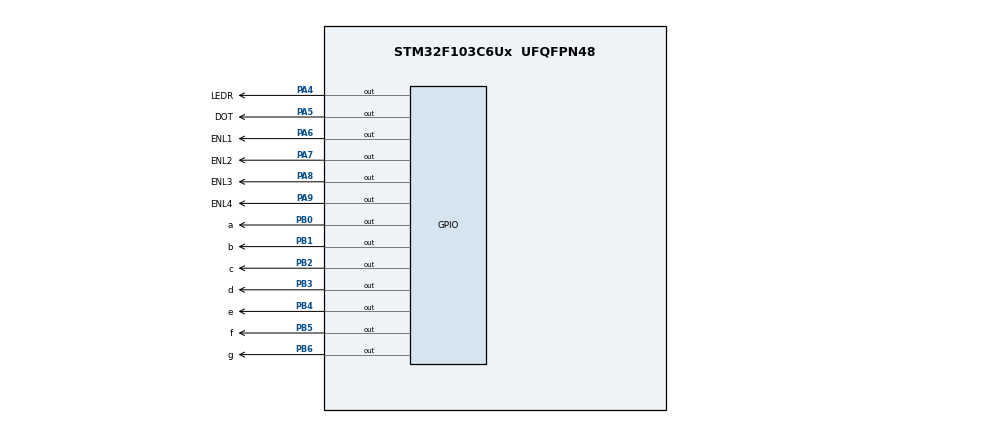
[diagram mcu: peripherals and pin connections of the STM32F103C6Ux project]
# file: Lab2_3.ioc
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Mcu.Family=STM32F1
Mcu.Name=STM32F103C6Ux
Mcu.Package=UFQFPN48
NVIC.PriorityGroup=NVIC_PRIORITYGROUP_4
NVIC.TIM2_IRQn=true\:0\:0\:false\:false\:true\:true\:true\:true
PA4.GPIO_Label=LEDR
PA4.Signal=GPIO_Output
PA5.GPIO_Label=DOT
PA5.Signal=GPIO_Output
PA6.GPIO_Label=ENL1
PA6.Signal=GPIO_Output
PA7.GPIO_Label=ENL2
PA7.Signal=GPIO_Output
PA8.GPIO_Label=ENL3
PA8.Signal=GPIO_Output
PA9.GPIO_Label=ENL4
PA9.Signal=GPIO_Output
PB0.GPIO_Label=a
PB0.Signal=GPIO_Output
PB1.GPIO_Label=b
PB1.Signal=GPIO_Output
PB2.GPIO_Label=c
PB2.Signal=GPIO_Output
PB3.GPIO_Label=d
PB3.Signal=GPIO_Output
PB4.GPIO_Label=e
PB4.Signal=GPIO_Output
PB5.GPIO_Label=f
PB5.Signal=GPIO_Output
PB6.GPIO_Label=g
PB6.Signal=GPIO_Output
ProjectManager.HeapSize=0x200
ProjectManager.StackSize=0x400
ProjectManager.TargetToolchain=STM32CubeIDE
RCC.APB1Freq_Value=8000000
RCC.APB2Freq_Value=8000000
TIM2.Period=9
TIM2.Prescaler=7999
VP_TIM2_VS_ClockSourceINT.Mode=Internal
board=custom

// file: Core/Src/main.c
/* USER CODE BEGIN Header */
/**
  ******************************************************************************
  * @file           : main.c
  * @brief          : Main program body
  ******************************************************************************
  * @attention
  *
  * Copyright (c) 2022 STMicroelectronics.
  * All rights reserved.
  *
  * This software is licensed under terms that can be found in the LICENSE file
  * in the root directory of this software component.
  * If no LICENSE file comes with this software, it is provided AS-IS.
  *
  ******************************************************************************
  */
/* USER CODE END Header */
#include "main.h"

TIM_HandleTypeDef htim2;

void SystemClock_Config(void);
static void MX_GPIO_Init(void);
static void MX_TIM2_Init(void);

int main(void)
{

  /* MCU Configuration--------------------------------------------------------*/

  /* Reset of all peripherals, Initializes the Flash interface and the Systick. */
  HAL_Init();

  /* Configure the system clock */
  SystemClock_Config();

  /* Initialize all configured peripherals */
  MX_GPIO_Init();
  MX_TIM2_Init();
  /* USER CODE BEGIN 2 */
  HAL_TIM_Base_Start_IT(&htim2);
  HAL_GPIO_WritePin(DOT_GPIO_Port, DOT_Pin, 0);
  HAL_GPIO_WritePin(ENL1_GPIO_Port, ENL1_Pin, 1);
  HAL_GPIO_WritePin(ENL2_GPIO_Port, ENL2_Pin, 1);
  HAL_GPIO_WritePin(ENL3_GPIO_Port, ENL3_Pin, 1);
  HAL_GPIO_WritePin(ENL4_GPIO_Port, ENL4_Pin, 1);
  /* USER CODE END 2 */

  /* Infinite loop */
  while (1)
  {

  }
}

void SystemClock_Config(void)
{
  RCC_OscInitTypeDef RCC_OscInitStruct = {0};
  RCC_ClkInitTypeDef RCC_ClkInitStruct = {0};

  /** Initializes the RCC Oscillators according to the specified parameters
  * in the RCC_OscInitTypeDef structure.
  */
  RCC_OscInitStruct.OscillatorType = RCC_OSCILLATORTYPE_HSI;
  RCC_OscInitStruct.HSIState = RCC_HSI_ON;
  RCC_OscInitStruct.HSICalibrationValue = RCC_HSICALIBRATION_DEFAULT;
  RCC_OscInitStruct.PLL.PLLState = RCC_PLL_NONE;
  if (HAL_RCC_OscConfig(&RCC_OscInitStruct) != HAL_OK)
  {
    Error_Handler();
  }

  /** Initializes the CPU, AHB and APB buses clocks
  */
  RCC_ClkInitStruct.ClockType = RCC_CLOCKTYPE_HCLK|RCC_CLOCKTYPE_SYSCLK
                              |RCC_CLOCKTYPE_PCLK1|RCC_CLOCKTYPE_PCLK2;
  RCC_ClkInitStruct.SYSCLKSource = RCC_SYSCLKSOURCE_HSI;
  RCC_ClkInitStruct.AHBCLKDivider = RCC_SYSCLK_DIV1;
  RCC_ClkInitStruct.APB1CLKDivider = RCC_HCLK_DIV1;
  RCC_ClkInitStruct.APB2CLKDivider = RCC_HCLK_DIV1;

  if (HAL_RCC_ClockConfig(&RCC_ClkInitStruct, FLASH_LATENCY_0) != HAL_OK)
  {
    Error_Handler();
  }
}

static void MX_TIM2_Init(void)
{

  TIM_ClockConfigTypeDef sClockSourceConfig = {0};
  TIM_MasterConfigTypeDef sMasterConfig = {0};

  htim2.Instance = TIM2;
  htim2.Init.Prescaler = 7999;
  htim2.Init.CounterMode = TIM_COUNTERMODE_UP;
  htim2.Init.Period = 9;
  htim2.Init.ClockDivision = TIM_CLOCKDIVISION_DIV1;
  htim2.Init.AutoReloadPreload = TIM_AUTORELOAD_PRELOAD_DISABLE;
  if (HAL_TIM_Base_Init(&htim2) != HAL_OK)
  {
    Error_Handler();
  }
  sClockSourceConfig.ClockSource = TIM_CLOCKSOURCE_INTERNAL;
  if (HAL_TIM_ConfigClockSource(&htim2, &sClockSourceConfig) != HAL_OK)
  {
    Error_Handler();
  }
  sMasterConfig.MasterOutputTrigger = TIM_TRGO_RESET;
  sMasterConfig.MasterSlaveMode = TIM_MASTERSLAVEMODE_DISABLE;
  if (HAL_TIMEx_MasterConfigSynchronization(&htim2, &sMasterConfig) != HAL_OK)
  {
    Error_Handler();
  }

}

static void MX_GPIO_Init(void)
{
  GPIO_InitTypeDef GPIO_InitStruct = {0};

  /* GPIO Ports Clock Enable */
  __HAL_RCC_GPIOA_CLK_ENABLE();
  __HAL_RCC_GPIOB_CLK_ENABLE();

  /*Configure GPIO pin Output Level */
  HAL_GPIO_WritePin(GPIOA, LEDR_Pin|DOT_Pin|ENL1_Pin|ENL2_Pin
                          |ENL3_Pin|ENL4_Pin, GPIO_PIN_RESET);

  /*Configure GPIO pin Output Level */
  HAL_GPIO_WritePin(GPIOB, a_Pin|b_Pin|c_Pin|d_Pin
                          |e_Pin|f_Pin|g_Pin, GPIO_PIN_RESET);

  /*Configure GPIO pins : LEDR_Pin DOT_Pin ENL1_Pin ENL2_Pin
                           ENL3_Pin ENL4_Pin */
  GPIO_InitStruct.Pin = LEDR_Pin|DOT_Pin|ENL1_Pin|ENL2_Pin
                          |ENL3_Pin|ENL4_Pin;
  GPIO_InitStruct.Mode = GPIO_MODE_OUTPUT_PP;
  GPIO_InitStruct.Pull = GPIO_NOPULL;
  GPIO_InitStruct.Speed = GPIO_SPEED_FREQ_LOW;
  HAL_GPIO_Init(GPIOA, &GPIO_InitStruct);

  /*Configure GPIO pins : a_Pin b_Pin c_Pin d_Pin
                           e_Pin f_Pin g_Pin */
  GPIO_InitStruct.Pin = a_Pin|b_Pin|c_Pin|d_Pin
                          |e_Pin|f_Pin|g_Pin;
  GPIO_InitStruct.Mode = GPIO_MODE_OUTPUT_PP;
  GPIO_InitStruct.Pull = GPIO_NOPULL;
  GPIO_InitStruct.Speed = GPIO_SPEED_FREQ_LOW;
  HAL_GPIO_Init(GPIOB, &GPIO_InitStruct);

}

/* USER CODE BEGIN 4 */
void display7SEG(int num){
	if (num==1){
		HAL_GPIO_WritePin(a_GPIO_Port, a_Pin, 1);
		HAL_GPIO_WritePin(a_GPIO_Port, b_Pin, 0);
		HAL_GPIO_WritePin(a_GPIO_Port, c_Pin, 0);
		HAL_GPIO_WritePin(a_GPIO_Port, d_Pin, 1);
		HAL_GPIO_WritePin(a_GPIO_Port, e_Pin, 1);
		HAL_GPIO_WritePin(a_GPIO_Port, f_Pin, 1);
		HAL_GPIO_WritePin(a_GPIO_Port, g_Pin, 1);
	}
	else if (num==2){
		HAL_GPIO_WritePin(a_GPIO_Port, a_Pin, 0);
		HAL_GPIO_WritePin(a_GPIO_Port, b_Pin, 0);
		HAL_GPIO_WritePin(a_GPIO_Port, c_Pin, 1);
		HAL_GPIO_WritePin(a_GPIO_Port, d_Pin, 0);
		HAL_GPIO_WritePin(a_GPIO_Port, e_Pin, 0);
		HAL_GPIO_WritePin(a_GPIO_Port, f_Pin, 1);
		HAL_GPIO_WritePin(a_GPIO_Port, g_Pin, 0);
	}
	else if (num==3){
		HAL_GPIO_WritePin(a_GPIO_Port, a_Pin, 0);
		HAL_GPIO_WritePin(a_GPIO_Port, b_Pin, 0);
		HAL_GPIO_WritePin(a_GPIO_Port, c_Pin, 0);
		HAL_GPIO_WritePin(a_GPIO_Port, d_Pin, 0);
		HAL_GPIO_WritePin(a_GPIO_Port, e_Pin, 1);
		HAL_GPIO_WritePin(a_GPIO_Port, f_Pin, 1);
		HAL_GPIO_WritePin(a_GPIO_Port, g_Pin, 0);

	}
	else if (num==4){
		HAL_GPIO_WritePin(a_GPIO_Port, a_Pin, 1);
		HAL_GPIO_WritePin(a_GPIO_Port, b_Pin, 0);
		HAL_GPIO_WritePin(a_GPIO_Port, c_Pin, 0);
		HAL_GPIO_WritePin(a_GPIO_Port, d_Pin, 1);
		HAL_GPIO_WritePin(a_GPIO_Port, e_Pin, 1);
		HAL_GPIO_WritePin(a_GPIO_Port, f_Pin, 0);
		HAL_GPIO_WritePin(a_GPIO_Port, g_Pin, 0);
	}
	else if (num==5){
		HAL_GPIO_WritePin(a_GPIO_Port, a_Pin, 0);
		HAL_GPIO_WritePin(a_GPIO_Port, b_Pin, 1);
		HAL_GPIO_WritePin(a_GPIO_Port, c_Pin, 0);
		HAL_GPIO_WritePin(a_GPIO_Port, d_Pin, 0);
		HAL_GPIO_WritePin(a_GPIO_Port, e_Pin, 1);
		HAL_GPIO_WritePin(a_GPIO_Port, f_Pin, 0);
		HAL_GPIO_WritePin(a_GPIO_Port, g_Pin, 0);
	}
	else if (num==6){
		HAL_GPIO_WritePin(a_GPIO_Port, a_Pin, 0);
		HAL_GPIO_WritePin(a_GPIO_Port, b_Pin, 1);
		HAL_GPIO_WritePin(a_GPIO_Port, c_Pin, 0);
		HAL_GPIO_WritePin(a_GPIO_Port, d_Pin, 0);
		HAL_GPIO_WritePin(a_GPIO_Port, e_Pin, 0);
		HAL_GPIO_WritePin(a_GPIO_Port, f_Pin, 0);
		HAL_GPIO_WritePin(a_GPIO_Port, g_Pin, 0);
	}
	else if (num==7){
		HAL_GPIO_WritePin(a_GPIO_Port, a_Pin, 0);
		HAL_GPIO_WritePin(a_GPIO_Port, b_Pin, 0);
		HAL_GPIO_WritePin(a_GPIO_Port, c_Pin, 0);
		HAL_GPIO_WritePin(a_GPIO_Port, d_Pin, 1);
		HAL_GPIO_WritePin(a_GPIO_Port, e_Pin, 1);
		HAL_GPIO_WritePin(a_GPIO_Port, f_Pin, 1);
		HAL_GPIO_WritePin(a_GPIO_Port, g_Pin, 1);
	}
	else if (num==8){
		HAL_GPIO_WritePin(a_GPIO_Port, a_Pin, 0);
		HAL_GPIO_WritePin(a_GPIO_Port, b_Pin, 0);
		HAL_GPIO_WritePin(a_GPIO_Port, c_Pin, 0);
		HAL_GPIO_WritePin(a_GPIO_Port, d_Pin, 0);
		HAL_GPIO_WritePin(a_GPIO_Port, e_Pin, 0);
		HAL_GPIO_WritePin(a_GPIO_Port, f_Pin, 0);
		HAL_GPIO_WritePin(a_GPIO_Port, g_Pin, 0);
	}
	else if (num==9){
		HAL_GPIO_WritePin(a_GPIO_Port, a_Pin, 0);
		HAL_GPIO_WritePin(a_GPIO_Port, b_Pin, 0);
		HAL_GPIO_WritePin(a_GPIO_Port, c_Pin, 0);
		HAL_GPIO_WritePin(a_GPIO_Port, d_Pin, 0);
		HAL_GPIO_WritePin(a_GPIO_Port, e_Pin, 1);
		HAL_GPIO_WritePin(a_GPIO_Port, f_Pin, 0);
		HAL_GPIO_WritePin(a_GPIO_Port, g_Pin, 0);
	} else if (num==0){
		HAL_GPIO_WritePin(a_GPIO_Port, a_Pin, 0);
		HAL_GPIO_WritePin(a_GPIO_Port, b_Pin, 0);
		HAL_GPIO_WritePin(a_GPIO_Port, c_Pin, 0);
		HAL_GPIO_WritePin(a_GPIO_Port, d_Pin, 0);
		HAL_GPIO_WritePin(a_GPIO_Port, e_Pin, 0);
		HAL_GPIO_WritePin(a_GPIO_Port, f_Pin, 0);
		HAL_GPIO_WritePin(a_GPIO_Port, g_Pin, 1 );
	}
}
int counter = 50;
int counter1 = 100;
int counter2 = 10;
int check = 0;
int led_buffer[4] = {1,2,3,4};
int led_index = 0;

void HAL_TIM_PeriodElapsedCallback ( TIM_HandleTypeDef * htim )
{
	counter --;
	counter1--;
	if (counter1<=0){
		counter1 = 100;
		check = 1;
		HAL_GPIO_TogglePin(DOT_GPIO_Port, DOT_Pin);
	}
	if (check == 1) counter2--;
	if (counter2 <=0){
		counter2 = 10;
		check = 0;
		HAL_GPIO_TogglePin(DOT_GPIO_Port, DOT_Pin);
	}
	if( counter <= 0) {
		counter = 50;

		HAL_GPIO_TogglePin(LEDR_GPIO_Port, LEDR_Pin);
		if (led_index == 0) {
			HAL_GPIO_WritePin(ENL1_GPIO_Port, ENL1_Pin, 0);
			HAL_GPIO_WritePin(ENL2_GPIO_Port, ENL2_Pin, 1);
			HAL_GPIO_WritePin(ENL3_GPIO_Port, ENL3_Pin, 1);
			HAL_GPIO_WritePin(ENL4_GPIO_Port, ENL4_Pin, 1);
			display7SEG(led_buffer[led_index]);
		}
		else if (led_index == 1){
			HAL_GPIO_WritePin(ENL1_GPIO_Port, ENL1_Pin, 1);
			HAL_GPIO_WritePin(ENL2_GPIO_Port, ENL2_Pin, 0);
			HAL_GPIO_WritePin(ENL3_GPIO_Port, ENL3_Pin, 1);
			HAL_GPIO_WritePin(ENL4_GPIO_Port, ENL4_Pin, 1);
			display7SEG(led_buffer[led_index]);

		}
		else if (led_index == 2){
			HAL_GPIO_WritePin(ENL1_GPIO_Port, ENL1_Pin, 1);
			HAL_GPIO_WritePin(ENL2_GPIO_Port, ENL2_Pin, 1);
			HAL_GPIO_WritePin(ENL3_GPIO_Port, ENL3_Pin, 0);
			HAL_GPIO_WritePin(ENL4_GPIO_Port, ENL4_Pin, 1);
			display7SEG(led_buffer[led_index]);
		}
		else if (led_index == 3){
			HAL_GPIO_WritePin(ENL1_GPIO_Port, ENL1_Pin, 1);
			HAL_GPIO_WritePin(ENL2_GPIO_Port, ENL2_Pin, 1);
			HAL_GPIO_WritePin(ENL3_GPIO_Port, ENL3_Pin, 1);
			HAL_GPIO_WritePin(ENL4_GPIO_Port, ENL4_Pin, 0);
			display7SEG(led_buffer[led_index]);
		}
		led_index = (led_index+1)%4;
	}
}
/* USER CODE END 4 */

void Error_Handler(void)
{
  __disable_irq();
  while (1)
  {
  }
}
